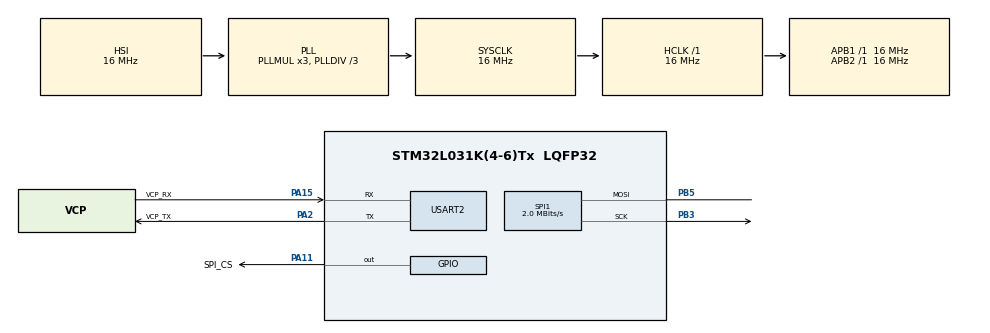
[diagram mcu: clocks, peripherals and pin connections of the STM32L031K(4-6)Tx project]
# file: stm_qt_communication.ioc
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Mcu.Family=STM32L0
Mcu.Name=STM32L031K(4-6)Tx
Mcu.Package=LQFP32
PA11.GPIO_Label=SPI_CS
PA11.Signal=GPIO_Output
PA13.GPIO_Label=TMS
PA13.Mode=Serial_Wire
PA13.Signal=SYS_SWDIO
PA14.GPIO_Label=TCK
PA14.Mode=Serial_Wire
PA14.Signal=SYS_SWCLK
PA15.GPIO_Label=VCP_RX
PA15.Mode=Asynchronous
PA15.Signal=USART2_RX
PA2.GPIO_Label=VCP_TX
PA2.Mode=Asynchronous
PA2.Signal=USART2_TX
PB3.Mode=Simplex_Bidirectional_Master
PB3.Signal=SPI1_SCK
PB5.Mode=Simplex_Bidirectional_Master
PB5.Signal=SPI1_MOSI
PC14-OSC32_IN.Mode=LSE-External-Oscillator
PC14-OSC32_IN.Signal=RCC_OSC32_IN
PC15-OSC32_OUT.Mode=LSE-External-Oscillator
PC15-OSC32_OUT.Signal=RCC_OSC32_OUT
ProjectManager.HeapSize=0x200
ProjectManager.StackSize=0x400
ProjectManager.TargetToolchain=STM32CubeIDE
RCC.AHBFreq_Value=16000000
RCC.APB1Freq_Value=16000000
RCC.APB1TimFreq_Value=16000000
RCC.APB2Freq_Value=16000000
RCC.APB2TimFreq_Value=16000000
RCC.HCLKFreq_Value=16000000
RCC.HSE_VALUE=8000000
RCC.HSI16_VALUE=16000000
RCC.HSI48_VALUE=48000000
RCC.HSI_VALUE=16000000
RCC.MSI_VALUE=2097000
RCC.PLLDIV=RCC_PLLDIV_3
RCC.SYSCLKFreq_VALUE=16000000
RCC.SYSCLKSource=RCC_SYSCLKSOURCE_PLLCLK
RCC.VCOOutputFreq_Value=48000000
SPI1.BaudRatePrescaler=SPI_BAUDRATEPRESCALER_8
SPI1.CalculateBaudRate=2.0 MBits/s
SPI1.Direction=SPI_DIRECTION_1LINE
SPI1.Mode=SPI_MODE_MASTER
SPI1.VirtualType=VM_MASTER
USART2.VirtualMode-Asynchronous=VM_ASYNC
board=NUCLEO-L031K6

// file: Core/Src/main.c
/* USER CODE BEGIN Header */
/**
  ******************************************************************************
  * @file           : main.c
  * @brief          : Main program body
  ******************************************************************************
  * @attention
  *
  * <h2><center>&copy; Copyright (c) 2023 STMicroelectronics.
  * All rights reserved.</center></h2>
  *
  * This software component is licensed by ST under BSD 3-Clause license,
  * the "License"; You may not use this file except in compliance with the
  * License. You may obtain a copy of the License at:
  *                        opensource.org/licenses/BSD-3-Clause
  *
  ******************************************************************************
  */
/* USER CODE END Header */
#include "main.h"
#include "spi.h"
#include "usart.h"
#include "gpio.h"

/* USER CODE BEGIN Includes */
#include <string.h>
#include "stm32l0xx_hal.h"
#include "dac.h"
/* USER CODE END Includes */

/* USER CODE BEGIN PD */
#define BUFFER_SIZE 8
/* USER CODE END PD */

void SystemClock_Config(void);

/* USER CODE BEGIN 0 */
unsigned short receiveDouble()
{
    uint8_t buffer[BUFFER_SIZE];

    while (HAL_UART_Receive(&huart2, buffer,2, HAL_MAX_DELAY) != HAL_OK)
    {
        // Handle receive error
    	//return 0;
    }
    HAL_UART_Transmit(&huart2, &buffer, 2, HAL_MAX_DELAY);

    uint16_t aux;
    aux = 0;
    aux = (buffer[1] << 8) & 0xff00;
    aux |= (buffer[0]) & 0x00ff;

    return aux;
}
/* USER CODE END 0 */

int main(void)
{

  /* USER CODE BEGIN 1 */
	uint16_t receiveValue;

  /* USER CODE END 1 */

  /* MCU Configuration--------------------------------------------------------*/

  /* Reset of all peripherals, Initializes the Flash interface and the Systick. */
  HAL_Init();

  /* Configure the system clock */
  SystemClock_Config();

  /* Initialize all configured peripherals */
  MX_GPIO_Init();
  MX_USART2_UART_Init();
  MX_SPI1_Init();
  /* USER CODE BEGIN 2 */

/* Start receiving data */
// uint8_t spiData[2];

  /* USER CODE END 2 */

  /* Infinite loop */
  /* USER CODE BEGIN WHILE */
  while (1)
  {

	 receiveValue= receiveDouble();

	/* Send a reference voltage to DAC */
	 DAC_SetVoltage(receiveValue);
	 //SPI_SendData(0xBB8);
	 HAL_Delay(20);
    /* USER CODE END WHILE */

  }
}

void SystemClock_Config(void)
{
  RCC_OscInitTypeDef RCC_OscInitStruct = {0};
  RCC_ClkInitTypeDef RCC_ClkInitStruct = {0};
  RCC_PeriphCLKInitTypeDef PeriphClkInit = {0};

  /** Configure the main internal regulator output voltage
  */
  __HAL_PWR_VOLTAGESCALING_CONFIG(PWR_REGULATOR_VOLTAGE_SCALE1);
  /** Initializes the RCC Oscillators according to the specified parameters
  * in the RCC_OscInitTypeDef structure.
  */
  RCC_OscInitStruct.OscillatorType = RCC_OSCILLATORTYPE_HSI;
  RCC_OscInitStruct.HSIState = RCC_HSI_ON;
  RCC_OscInitStruct.HSICalibrationValue = RCC_HSICALIBRATION_DEFAULT;
  RCC_OscInitStruct.PLL.PLLState = RCC_PLL_ON;
  RCC_OscInitStruct.PLL.PLLSource = RCC_PLLSOURCE_HSI;
  RCC_OscInitStruct.PLL.PLLMUL = RCC_PLLMUL_3;
  RCC_OscInitStruct.PLL.PLLDIV = RCC_PLLDIV_3;
  if (HAL_RCC_OscConfig(&RCC_OscInitStruct) != HAL_OK)
  {
    Error_Handler();
  }
  /** Initializes the CPU, AHB and APB buses clocks
  */
  RCC_ClkInitStruct.ClockType = RCC_CLOCKTYPE_HCLK|RCC_CLOCKTYPE_SYSCLK
                              |RCC_CLOCKTYPE_PCLK1|RCC_CLOCKTYPE_PCLK2;
  RCC_ClkInitStruct.SYSCLKSource = RCC_SYSCLKSOURCE_PLLCLK;
  RCC_ClkInitStruct.AHBCLKDivider = RCC_SYSCLK_DIV1;
  RCC_ClkInitStruct.APB1CLKDivider = RCC_HCLK_DIV1;
  RCC_ClkInitStruct.APB2CLKDivider = RCC_HCLK_DIV1;

  if (HAL_RCC_ClockConfig(&RCC_ClkInitStruct, FLASH_LATENCY_0) != HAL_OK)
  {
    Error_Handler();
  }
  PeriphClkInit.PeriphClockSelection = RCC_PERIPHCLK_USART2;
  PeriphClkInit.Usart2ClockSelection = RCC_USART2CLKSOURCE_PCLK1;
  if (HAL_RCCEx_PeriphCLKConfig(&PeriphClkInit) != HAL_OK)
  {
    Error_Handler();
  }
}

void Error_Handler(void)
{
  __disable_irq();
  while (1)
  {
  }
}

/************************ (C) COPYRIGHT STMicroelectronics *****END OF FILE****/
